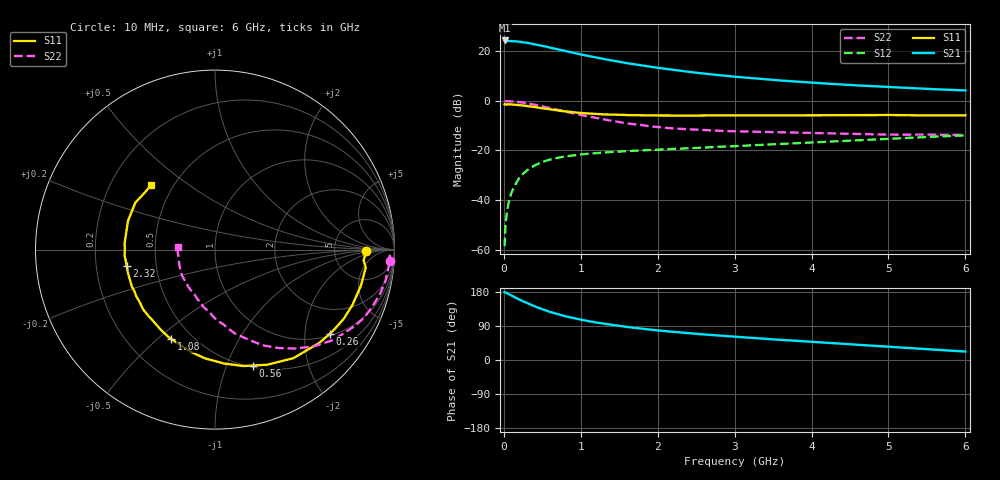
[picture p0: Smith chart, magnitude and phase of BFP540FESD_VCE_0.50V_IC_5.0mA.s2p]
! Infineon Technologies  Discrete & RF Semiconductors
! BFP540FESD
! VCE = 0.50 V,  IC =  5.0 mA
! Common Emitter S-Parameters:  Nov 2015
# GHz  S  MA  R  50
!  f  S11  S21  S12  S22
! GHz  MAG  ANG  MAG  ANG  MAG  ANG  MAG  ANG
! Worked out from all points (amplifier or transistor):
!   210 points, 10 MHz to 6 GHz, reference 50 ohm
!   highest |S21| = 24.1 dB at 10 MHz (marker M1)
!   |S21| within 3 dB of that: start of sweep to 620.3 MHz
!   unconditionally stable (mu >= 1): 2.696 GHz to end of sweep
!   at 185 MHz: K = 0.10, MSG = 27.7 dB, |S12| = -31.8 dB
!   at 1.52 GHz: K = 0.65, MSG = 18.0 dB, |S12| = -20.4 dB
!   at 6 GHz: K = 1.28, MAG = 5.9 dB, |S12| = -14.0 dB
!   S11 on the Smith chart (normalised r, x): 10 MHz: 12, -1; 260 MHz: 1.06, -2.68; 560 MHz: 0.52, -1.24; 1.08 GHz: 0.39, -0.55; 2.32 GHz: 0.34, -0.08; 6 GHz: 0.38, +0.36
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0.01  0.8436 -0.6  16.1 178.9  0.0012 89.7  0.9772 -3.8
0.02  0.8301 -4.1  15.56 178.2  0.0029 95.4  0.9744 -2.0
0.075  0.8399 -10.4  15.7 172.7  0.0107 85.1  0.9689 -7.5
0.15  0.8254 -22.0  15.57 164.9  0.0208 78.4  0.9529 -14.9
0.2  0.8145 -28.1  15.19 159.6  0.0279 74.5  0.9329 -19.8
0.26  0.7934 -36.3  14.77 154.1  0.0351 71.3  0.9077 -25.3
0.3  0.7798 -41.8  14.48 150.2  0.0398 68.8  0.8866 -28.8
0.4  0.7461 -54.2  13.55 141.5  0.0499 62.5  0.8313 -37.2
0.5  0.7041 -65.7  12.62 133.7  0.0588 57.3  0.768 -44.7
0.56  0.6793 -72.0  11.98 129.7  0.0629 54.6  0.7309 -48.4
0.6  0.6675 -76.4  11.58 126.8  0.0657 53.0  0.708 -51.1
0.8  0.6083 -95.3  9.892 115.4  0.076 46.6  0.6017 -62.8
1.02  0.5615 -111.7  8.322 105.7  0.0838 41.8  0.5086 -72.7
1.08  0.5541 -116.2  7.97 103.3  0.0854 40.8  0.4881 -75.5
1.22  0.5368 -125.1  7.2 98.4  0.089 38.8  0.442 -80.9
1.5  0.5209 -140.3  6 89.9  0.0946 36.0  0.3726 -91.7
2.02  0.5028 -161.0  4.508 77.7  0.104 33.8  0.2935 -109.3
2.32  0.5003 -169.4  3.919 72.3  0.1093 33.2  0.2701 -117.0
3.1  0.5038 174.1  2.931 60.1  0.1241 32.4  0.2405 -134.5
4.1  0.5097 160.7  2.242 46.7  0.1477 31.0  0.2222 -150.7
5.1  0.5123 148.0  1.844 33.6  0.1748 26.8  0.2075 -167.3
6  0.5063 135.1  1.6 22.3  0.2006 22.0  0.2047 175.4
